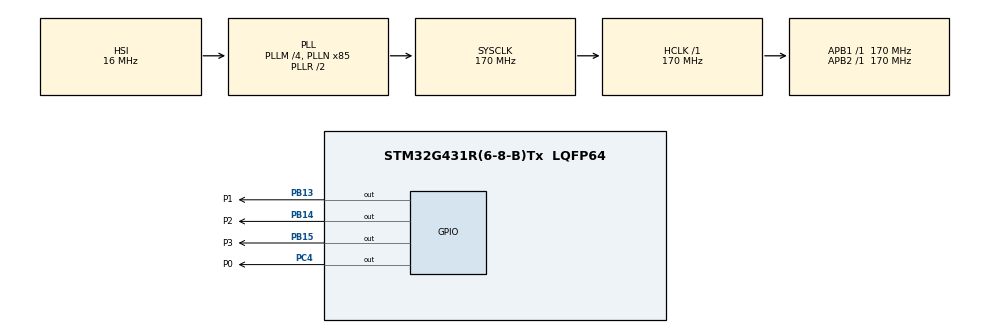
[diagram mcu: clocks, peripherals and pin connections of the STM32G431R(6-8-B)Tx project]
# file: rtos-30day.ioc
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FREERTOS.Tasks01=defaultTask,24,256,StartDefaultTask,Default,NULL,Dynamic,NULL,NULL
FREERTOS.configCHECK_FOR_STACK_OVERFLOW=2
FREERTOS.configMINIMAL_STACK_SIZE=256
FREERTOS.configTOTAL_HEAP_SIZE=0x4000
Mcu.Family=STM32G4
Mcu.Name=STM32G431R(6-8-B)Tx
Mcu.Package=LQFP64
NUCLEO-G431RB.BUTTON=1
NUCLEO-G431RB.LD1=true
NUCLEO-G431RB.VCP=true
NVIC.EXTI15_10_IRQn=true\:5\:0\:false\:false\:true\:true\:false\:true\:true
NVIC.PriorityGroup=NVIC_PRIORITYGROUP_4
NVIC.TIM6_DAC_IRQn=true\:15\:0\:false\:false\:true\:false\:false\:true\:true
NVIC.TimeBase=TIM6_DAC_IRQn
NVIC.TimeBaseIP=TIM6
PA13.GPIO_Label=T_SWDIO
PA13.Mode=Serial_Wire
PA13.Signal=SYS_JTMS-SWDIO
PA14.GPIO_Label=T_SWCLK
PA14.Mode=Serial_Wire
PA14.Signal=SYS_JTCK-SWCLK
PA2.Signal=LPUART1_TX
PA3.Signal=LPUART1_RX
PB13.GPIO_Label=P1
PB13.Signal=GPIO_Output
PB14.GPIO_Label=P2
PB14.Signal=GPIO_Output
PB15.GPIO_Label=P3
PB15.Signal=GPIO_Output
PB3.GPIO_Label=T_SWO
PB3.Signal=SYS_JTDO-SWO
PC14-OSC32_IN.GPIO_Label=RCC_OSC32_OUT
PC14-OSC32_IN.Signal=RCC_OSC32_IN
PC15-OSC32_OUT.GPIO_Label=RCC_OSC32_OUT
PC15-OSC32_OUT.Signal=RCC_OSC32_OUT
PC4.GPIO_Label=P0
PC4.Signal=GPIO_Output
PF0-OSC_IN.GPIO_Label=RCC_OSC_IN
PF0-OSC_IN.Signal=RCC_OSC_IN
PF1-OSC_OUT.GPIO_Label=RCC_OSC_OUT
PF1-OSC_OUT.Signal=RCC_OSC_OUT
ProjectManager.HeapSize=0x200
ProjectManager.StackSize=0x400
ProjectManager.TargetToolchain=STM32CubeIDE
RCC.ADC12Freq_Value=170000000
RCC.AHBFreq_Value=170000000
RCC.APB1Freq_Value=170000000
RCC.APB1TimFreq_Value=170000000
RCC.APB2Freq_Value=170000000
RCC.APB2TimFreq_Value=170000000
RCC.CortexFreq_Value=170000000
RCC.EXTERNAL_CLOCK_VALUE=12288000
RCC.HCLKFreq_Value=170000000
RCC.HSE_VALUE=24000000
RCC.HSI48_VALUE=48000000
RCC.HSI_VALUE=16000000
RCC.LSE_VALUE=32768
RCC.PLLM=RCC_PLLM_DIV4
RCC.PLLN=85
RCC.RTCClockSelection=RCC_RTCCLKSOURCE_LSE
RCC.SYSCLKFreq_VALUE=170000000
RCC.SYSCLKSource=RCC_SYSCLKSOURCE_PLLCLK
RCC.USBFreq_Value=170000000
RCC.VCOOutputFreq_Value=340000000
VP_FREERTOS_VS_CMSIS_V2.Mode=CMSIS_V2
VP_NUCLEO-G431RB_VS_BSP_COMMON.Mode=COMMON
VP_SYS_VS_DBSignals.Mode=DisableDeadBatterySignals
VP_SYS_VS_tim6.Mode=TIM6
board=NUCLEO-G431RB

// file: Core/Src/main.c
/* USER CODE BEGIN Header */
/**
  ******************************************************************************
  * @file           : main.c
  * @brief          : Main program body
  ******************************************************************************
  * @attention
  *
  * Copyright (c) 2026 STMicroelectronics.
  * All rights reserved.
  *
  * This software is licensed under terms that can be found in the LICENSE file
  * in the root directory of this software component.
  * If no LICENSE file comes with this software, it is provided AS-IS.
  *
  ******************************************************************************
  */
/* USER CODE END Header */
#include "main.h"
#include "cmsis_os.h"
#include "gpio.h"

/* USER CODE BEGIN Includes */
#include <stdio.h>
/* USER CODE END Includes */

COM_InitTypeDef BspCOMInit;

void SystemClock_Config(void);
void MX_FREERTOS_Init(void);

int main(void)
{

  /* MCU Configuration--------------------------------------------------------*/

  /* Reset of all peripherals, Initializes the Flash interface and the Systick. */
  HAL_Init();

  /* Configure the system clock */
  SystemClock_Config();

  /* Initialize all configured peripherals */
  MX_GPIO_Init();

  /* Init scheduler */
  osKernelInitialize();  /* Call init function for freertos objects (in cmsis_os2.c) */
  MX_FREERTOS_Init();

  /* Initialize leds */
  BSP_LED_Init(LED_GREEN);

  /* Initialize USER push-button, will be used to trigger an interrupt each time it's pressed.*/
  BSP_PB_Init(BUTTON_USER, BUTTON_MODE_EXTI);

  /* Initialize COM1 port (115200, 8 bits (7-bit data + 1 stop bit), no parity */
  BspCOMInit.BaudRate   = 115200;
  BspCOMInit.WordLength = COM_WORDLENGTH_8B;
  BspCOMInit.StopBits   = COM_STOPBITS_1;
  BspCOMInit.Parity     = COM_PARITY_NONE;
  BspCOMInit.HwFlowCtl  = COM_HWCONTROL_NONE;
  if (BSP_COM_Init(COM1, &BspCOMInit) != BSP_ERROR_NONE)
  {
    Error_Handler();
  }

  /* Start scheduler */
  osKernelStart();

  /* We should never get here as control is now taken by the scheduler */

  /* Infinite loop */
  while (1)
  {

  }
}

void SystemClock_Config(void)
{
  RCC_OscInitTypeDef RCC_OscInitStruct = {0};
  RCC_ClkInitTypeDef RCC_ClkInitStruct = {0};

  /** Configure the main internal regulator output voltage
  */
  HAL_PWREx_ControlVoltageScaling(PWR_REGULATOR_VOLTAGE_SCALE1_BOOST);

  /** Initializes the RCC Oscillators according to the specified parameters
  * in the RCC_OscInitTypeDef structure.
  */
  RCC_OscInitStruct.OscillatorType = RCC_OSCILLATORTYPE_HSI;
  RCC_OscInitStruct.HSIState = RCC_HSI_ON;
  RCC_OscInitStruct.HSICalibrationValue = RCC_HSICALIBRATION_DEFAULT;
  RCC_OscInitStruct.PLL.PLLState = RCC_PLL_ON;
  RCC_OscInitStruct.PLL.PLLSource = RCC_PLLSOURCE_HSI;
  RCC_OscInitStruct.PLL.PLLM = RCC_PLLM_DIV4;
  RCC_OscInitStruct.PLL.PLLN = 85;
  RCC_OscInitStruct.PLL.PLLP = RCC_PLLP_DIV2;
  RCC_OscInitStruct.PLL.PLLQ = RCC_PLLQ_DIV2;
  RCC_OscInitStruct.PLL.PLLR = RCC_PLLR_DIV2;
  if (HAL_RCC_OscConfig(&RCC_OscInitStruct) != HAL_OK)
  {
    Error_Handler();
  }

  /** Initializes the CPU, AHB and APB buses clocks
  */
  RCC_ClkInitStruct.ClockType = RCC_CLOCKTYPE_HCLK|RCC_CLOCKTYPE_SYSCLK
                              |RCC_CLOCKTYPE_PCLK1|RCC_CLOCKTYPE_PCLK2;
  RCC_ClkInitStruct.SYSCLKSource = RCC_SYSCLKSOURCE_PLLCLK;
  RCC_ClkInitStruct.AHBCLKDivider = RCC_SYSCLK_DIV1;
  RCC_ClkInitStruct.APB1CLKDivider = RCC_HCLK_DIV1;
  RCC_ClkInitStruct.APB2CLKDivider = RCC_HCLK_DIV1;

  if (HAL_RCC_ClockConfig(&RCC_ClkInitStruct, FLASH_LATENCY_4) != HAL_OK)
  {
    Error_Handler();
  }
}

void HAL_TIM_PeriodElapsedCallback(TIM_HandleTypeDef *htim)
{
  if (htim->Instance == TIM6)
  {
    HAL_IncTick();
  }
}

void Error_Handler(void)
{
  __disable_irq();
  while (1)
  {
  }
}

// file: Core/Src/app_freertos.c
/* USER CODE BEGIN Header */
/**
  ******************************************************************************
  * File Name          : app_freertos.c
  * Description        : Code for freertos applications
  ******************************************************************************
  * @attention
  *
  * Copyright (c) 2026 STMicroelectronics.
  * All rights reserved.
  *
  * This software is licensed under terms that can be found in the LICENSE file
  * in the root directory of this software component.
  * If no LICENSE file comes with this software, it is provided AS-IS.
  *
  ******************************************************************************
  */
/* USER CODE END Header */

#include "FreeRTOS.h"
#include "task.h"
#include "main.h"
#include "cmsis_os.h"

/* USER CODE BEGIN Includes */
#include <stdio.h>
/* USER CODE END Includes */

/* USER CODE BEGIN PD */
#define TASK0_PRIO   22u    /* below defaultTask (24) */
#define TASK1_PRIO   22u
#define SPIN_COUNT   20u    /* about 1-2 us per half period; tune it on the analyzer */
/* USER CODE END PD */

/* USER CODE BEGIN Variables */
static TaskHandle_t hTask0 = NULL;
static TaskHandle_t hTask1 = NULL;
/* USER CODE END Variables */
/* Definitions for defaultTask */
osThreadId_t defaultTaskHandle;
const osThreadAttr_t defaultTask_attributes = {
  .name = "defaultTask",
  .priority = (osPriority_t) osPriorityNormal,
  .stack_size = 256 * 4
};

/* USER CODE BEGIN FunctionPrototypes */
static void vTaskP0(void *pvParameters);
static void vTaskP1(void *pvParameters);

/* USER CODE END FunctionPrototypes */

void StartDefaultTask(void *argument);

void MX_FREERTOS_Init(void); /* (MISRA C 2004 rule 8.1) */

/* Hook prototypes */
void vApplicationStackOverflowHook(xTaskHandle xTask, signed char *pcTaskName);

/* USER CODE BEGIN 4 */
void vApplicationStackOverflowHook(xTaskHandle xTask, signed char *pcTaskName)
{
   /* Run time stack overflow checking is performed if
   configCHECK_FOR_STACK_OVERFLOW is defined to 1 or 2. This hook function is
   called if a stack overflow is detected. */
	(void)xTask; (void)pcTaskName;
	__disable_irq();
	__BKPT(0);      /* debugger stops here */
	for (;;) { }
}
/* USER CODE END 4 */

void MX_FREERTOS_Init(void) {

  /* Create the thread(s) */
  /* creation of defaultTask */
  defaultTaskHandle = osThreadNew(StartDefaultTask, NULL, &defaultTask_attributes);

  /* USER CODE BEGIN RTOS_THREADS */
  /* add threads, ... */
  BaseType_t xRet_P0;
  BaseType_t xRet_P1;

  xRet_P0 = xTaskCreate(vTaskP0,    /* task function */
                     "P0",          /* name, for debug and vTaskList */
                     128,           /* stack depth in WORDS: 128 x 4 = 512 bytes */
                     NULL,          /* pvParameters */
					 TASK0_PRIO,            /* priority (configMAX_PRIORITIES is 56 with CMSIS_V2) */
                     &hTask0);     /* handle out, or NULL if you do not need it */
  configASSERT(xRet_P0 == pdPASS);

  xRet_P1 = xTaskCreate(vTaskP1,    /* task function */
                     "P1",          /* name, for debug and vTaskList */
                     128,           /* stack depth in WORDS: 128 x 4 = 512 bytes */
                     NULL,          /* pvParameters */
					 TASK1_PRIO,            /* priority (configMAX_PRIORITIES is 56 with CMSIS_V2) */
                     &hTask1);     /* handle out, or NULL if you do not need it */
  configASSERT(xRet_P1 == pdPASS);

  /* USER CODE END RTOS_THREADS */

}

void StartDefaultTask(void *argument)
{
  /* USER CODE BEGIN StartDefaultTask */
  printf("RTOS-30day: scheduler running\r\n");
  /* Infinite loop */
  for(;;)
  {
    osDelay(1);
  }
  /* USER CODE END StartDefaultTask */
}

/* USER CODE BEGIN Application */
static void vTaskP0(void *pvParameters)
{
	(void)pvParameters;                 /* not used here */
	for(;;){							/* A task never return */
		HAL_GPIO_TogglePin(P0_GPIO_Port, P0_Pin);
		vTaskDelay(pdMS_TO_TICKS(100)); /* blocked for 100ms */
	}
}

static void vTaskP1(void *pvParameters)
{
	(void)pvParameters;                 /* not used here */
	for(;;){							/* A task never return */
		HAL_GPIO_TogglePin(P1_GPIO_Port, P1_Pin);
		vTaskDelay(pdMS_TO_TICKS(250)); /* blocked for 100ms */
	}
}
/* USER CODE END Application */
